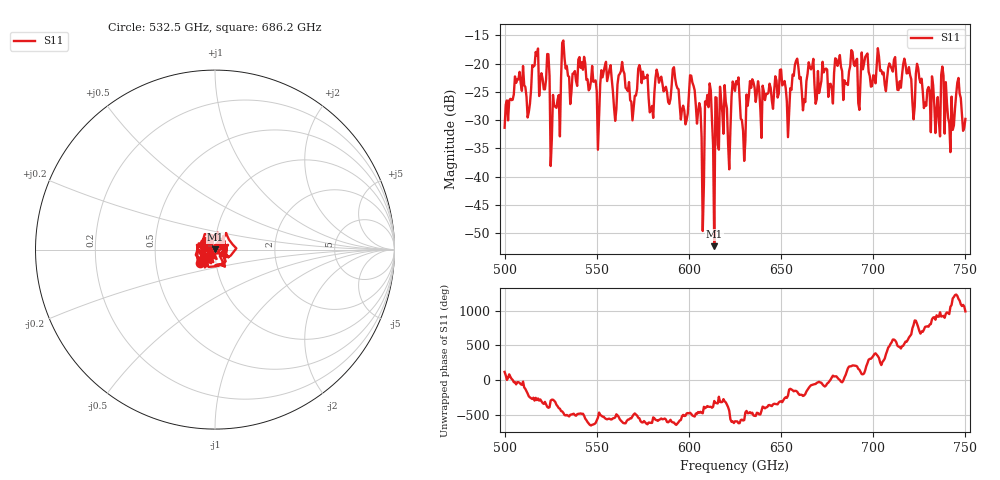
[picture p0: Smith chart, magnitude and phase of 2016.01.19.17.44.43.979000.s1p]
!Created with skrf (http://scikit-rf.org).
# GHz S RI R 50.0
!freq ReS11 ImS11
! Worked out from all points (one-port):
!   401 points, 500 GHz to 750 GHz, reference 50 ohm
!   lowest |S11| = -52.3 dB at 613.8 GHz (marker M1), VSWR 1.00, Z = 50.1 + j0.217 ohm
!   |S11| at or under -10 dB: start of sweep to end of sweep
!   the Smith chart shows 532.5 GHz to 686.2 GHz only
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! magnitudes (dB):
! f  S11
! 500 GHz  -31.3
! 506.9 GHz  -22.8
! 513.1 GHz  -28.6
! 516.9 GHz  -17.9
! 523.1 GHz  -18.3
! 526.2 GHz  -25.5
! 531.2 GHz  -16.3
! 550.6 GHz  -35.2
! 562.5 GHz  -21.8
! 569.4 GHz  -30.0
! 573.8 GHz  -21.2
! 579.4 GHz  -28.2
! 593.8 GHz  -24.4
! 598.1 GHz  -30.7
! 601.9 GHz  -23.3
! 606.9 GHz  -33.0
! 610.6 GHz  -27.7
! 613.8 GHz  -52.3
! 618.1 GHz  -28.6
! 621.9 GHz  -38.7
! 625 GHz  -24.8
! 629.4 GHz  -31.9
! 634.4 GHz  -22.8
! 656.2 GHz  -21.9
! 687.5 GHz  -20.4
! 718.8 GHz  -21.6
! 746.2 GHz  -22.5
! 750 GHz  -29.8
